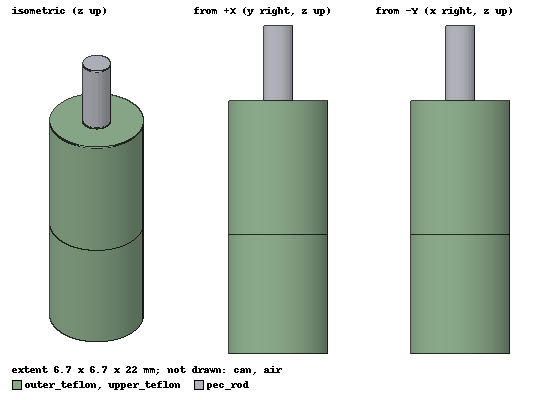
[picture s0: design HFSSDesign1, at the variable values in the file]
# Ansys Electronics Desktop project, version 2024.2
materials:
  vacuum: permittivity=1
  Teflon (tm): permittivity=2.1 dielectric_loss_tangent=0.001
  pec: conductivity=1e+30

design HFSSDesign1 (HFSS, HFSS Terminal Network, model units mm)
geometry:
  upper_teflon [Teflon (tm)] = cylinder(axis=Z, base_centre=(0mm, 0mm, -7mm), radius=3.35mm, height=(7+1) mm)
  pec_rod [pec] = cylinder(axis=Z, base_centre=(0mm, 0mm, -7mm), radius=1mm, height=(7+1+14) mm)
  Cylinder2_1 = pec_rod.copy()
  upper_teflon.subtract(Cylinder2_1)
  outer_teflon [Teflon (tm)] = cylinder(axis=Z, base_centre=(0mm, 0mm, 1mm), radius=3.35mm, height=9mm)
  can [vacuum] = cylinder(axis=X, base_centre=(-25mm, 0mm, 20.5mm), radius=20.5mm, height=76mm)
  Cylinder1_1 = upper_teflon.copy()
  Cylinder2_2 = pec_rod.copy()
  Cylinder3_1 = outer_teflon.copy()
  can.subtract(Cylinder1_1, Cylinder2_2, Cylinder3_1)
  air [vacuum] = box(corner=(-41mm, -40.5mm, -7mm), size=(124mm, 81mm, 68mm))
  Cylinder2_3 = pec_rod.copy()
  outer_teflon.subtract(Cylinder2_3)
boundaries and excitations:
  PerfE1: Perfect E Faces=upper_teflon.face(side)
  PerfE2: Perfect E Faces=can.face(side)
  PerfE3: Perfect E Faces=can.face(-x end)
  Rad1: Radiation Objects=air
  1: Wave Port Faces=upper_teflon.face(-z end) WavePortType=Modal NumModes=1 Modes{Mode1{CharImp=Zpi}}
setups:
  Setup1: HfssDriven Frequency=5GHz MaxDeltaS=0.02 MaximumPasses=6 MinimumPasses=1 MinimumConvergedPasses=1 PercentRefinement=30 BasisOrder=1 PortAccuracy=2 DrivenSolverType="Direct Solver"
    sweep Sweep: 2.5GHz to 7.5GHz, 401 points; Type=Interpolating InterpTolerance=0.5 InterpMaxSolns=250 PassivityErrorTolerance=0.0001
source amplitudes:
  1:1: 1V 0deg
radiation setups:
  Infinite Sphere1: Infinite Sphere Theta=0deg..180deg step 2deg Phi=-180deg..180deg step 2deg
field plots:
  Mag_E1: E Field over can.face(+x end) on Setup1 : LastAdaptive at Freq=5GHz Phase=0deg
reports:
  Gain Plot 1: GainTotal vs Phi, Theta on Setup1 : LastAdaptive, Infinite Sphere1 [Freq=5GHz]
  S Parameter Plot 1: dB(S(1,1)) vs Freq on Setup1 : Sweep; markers MX1 at x=5.2e+09
  Z Parameter Plot 1: dB20(Z(1,1)) vs Freq on Setup1 : Sweep; markers MX1 at x=5.2e+09
  VSWR Plot 1: VSWR(1) vs Freq on Setup1 : Sweep; markers MX1 at x=5.2e+09
